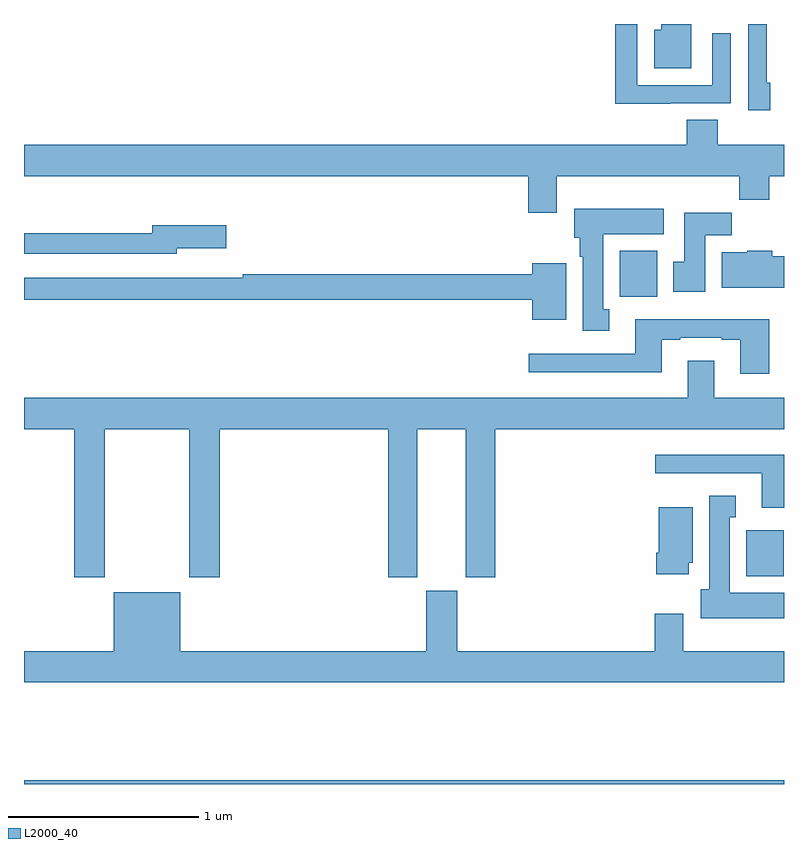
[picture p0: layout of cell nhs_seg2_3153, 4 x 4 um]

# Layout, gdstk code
import gdstk
lib = gdstk.Library(unit=1e-6, precision=1e-09)
def R(c, l, rs):  # rectangles x0, y0, x1, y1
    for r in rs: c.add(gdstk.rectangle(r[:2], r[2:], *l))
def P(c, l, *ps):  # polygons
    for p in ps: c.add(gdstk.Polygon(p, *l))
L2000_40 = (2000, 40)

nhs_seg2_3153 = lib.new_cell('nhs_seg2_3153')
R(nhs_seg2_3153, L2000_40, [(277,613.8,281,613.82), (280.802,614.894,280.999,615.136), (280.136,616.364,280.333,616.606)])
P(nhs_seg2_3153, L2000_40, [(280.513,617.8),(280.355,617.8),(280.355,617.77),(280.316,617.77),(280.316,617.567),(280.513,617.567)],
  [(280.403,617.382),(280.719,617.382),(280.719,617.752),(280.623,617.752),(280.623,617.478),(280.227,617.478),(280.227,617.8),(280.111,617.8),(280.111,617.381),(280.403,617.381)],
  [(280.927,617.49),(280.908,617.49),(280.908,617.8),(280.812,617.8),(280.812,617.346),(280.927,617.346)],
  [(279.805,617),(280.765,617),(280.765,616.876),(280.922,616.876),(280.922,617),(281,617),(281,617.164),(280.652,617.164),(280.652,617.297),(280.487,617.297),(280.487,617.164),(277,617.164),(277,617),(279.653,617),(279.653,616.806),(279.805,616.806)],
  [(280.081,616.298),(280.048,616.298),(280.048,616.694),(280.366,616.694),(280.366,616.828),(279.896,616.828),(279.896,616.674),(279.926,616.674),(279.926,616.574),(279.941,616.574),(279.941,616.185),(280.081,616.185)],
  [(280.585,616.688),(280.724,616.688),(280.724,616.807),(280.475,616.807),(280.475,616.548),(280.418,616.548),(280.418,616.392),(280.585,616.392)],
  [(277.804,616.619),(278.065,616.619),(278.065,616.741),(277.676,616.741),(277.676,616.699),(277,616.699),(277,616.59),(277.804,616.59)],
  [(281,616.578),(280.937,616.578),(280.937,616.606),(280.806,616.606),(280.806,616.6),(280.673,616.6),(280.673,616.412),(281,616.412)],
  [(279.853,616.54),(279.674,616.54),(279.674,616.484),(278.152,616.484),(278.152,616.465),(277.9,616.465),(277.9,616.464),(277,616.464),(277,616.348),(279.674,616.348),(279.674,616.244),(279.853,616.244)],
  [(280.922,616.246),(280.217,616.246),(280.217,616.065),(279.657,616.065),(279.657,615.968),(280.357,615.968),(280.357,616.137),(280.453,616.137),(280.453,616.149),(280.673,616.149),(280.673,616.137),(280.769,616.137),(280.769,615.96),(280.922,615.96)],
  [(277.425,615.668),(277.87,615.668),(277.87,614.889),(278.03,614.889),(278.03,615.668),(278.918,615.668),(278.918,614.889),(279.07,614.889),(279.07,615.668),(279.326,615.668),(279.326,614.889),(279.479,614.889),(279.479,615.668),(281,615.668),(281,615.832),(280.633,615.832),(280.633,616.027),(280.493,616.027),(280.493,615.832),(277,615.832),(277,615.668),(277.265,615.668),(277.265,614.889),(277.425,614.889)],
  [(281,615.532),(280.323,615.532),(280.323,615.435),(280.883,615.435),(280.883,615.254),(281,615.254)],
  [(281,614.806),(280.714,614.806),(280.714,615.203),(280.747,615.203),(280.747,615.316),(280.607,615.316),(280.607,614.826),(280.562,614.826),(280.562,614.672),(281,614.672)],
  [(280.498,614.964),(280.519,614.964),(280.519,615.256),(280.34,615.256),(280.34,615.016),(280.328,615.016),(280.328,614.904),(280.498,614.904)],
  [(281,614.5),(280.471,614.5),(280.471,614.695),(280.319,614.695),(280.319,614.5),(279.28,614.5),(279.28,614.817),(279.116,614.817),(279.116,614.5),(277.822,614.5),(277.822,614.809),(277.472,614.809),(277.472,614.5),(277,614.5),(277,614.336),(281,614.336)])

lib.write_gds('nhs_seg2_3153.gds')
